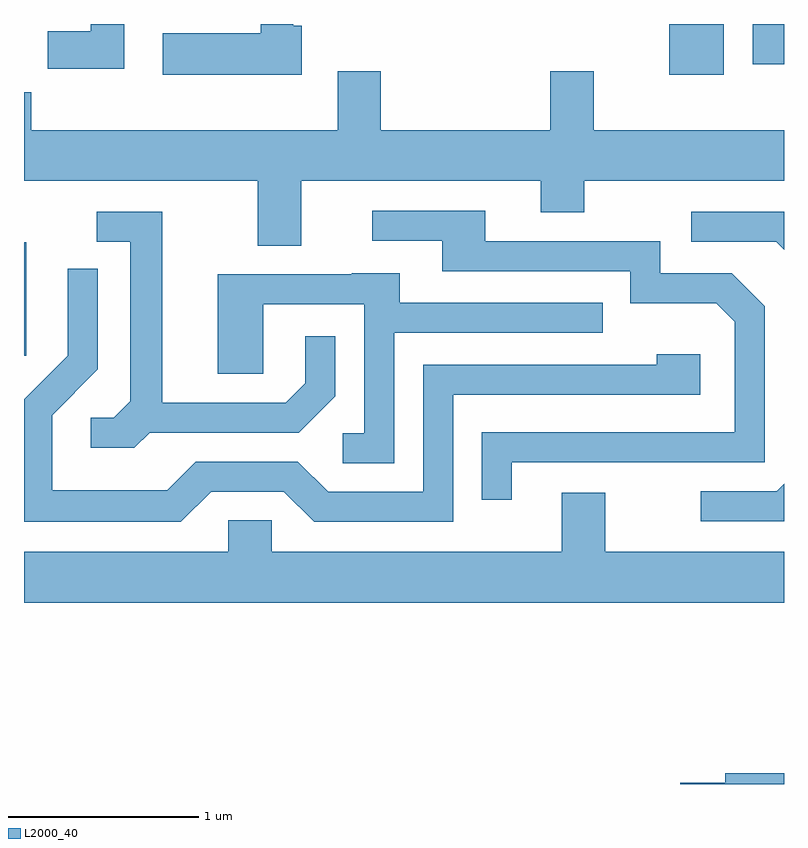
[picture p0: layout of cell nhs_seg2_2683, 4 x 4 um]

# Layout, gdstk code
import gdstk
lib = gdstk.Library(unit=1e-6, precision=1e-09)
def R(c, l, rs):  # rectangles x0, y0, x1, y1
    for r in rs: c.add(gdstk.rectangle(r[:2], r[2:], *l))
def P(c, l, *ps):  # polygons
    for p in ps: c.add(gdstk.Polygon(p, *l))
L2000_40 = (2000, 40)

nhs_seg2_2683 = lib.new_cell('nhs_seg2_2683')
R(nhs_seg2_2683, L2000_40, [(263.611,1054.056,263.624,1054.654), (267.006,1055.536,267.294,1055.802), (267.446,1055.591,267.611,1055.802)])
P(nhs_seg2_2683, L2000_40, [(264.139,1055.802),(263.961,1055.802),(263.961,1055.764),(263.736,1055.764),(263.736,1055.566),(264.139,1055.566)],
  [(265.074,1055.794),(265.029,1055.794),(265.029,1055.802),(264.856,1055.802),(264.856,1055.754),(264.341,1055.754),(264.341,1055.536),(265.074,1055.536)],
  [(265.069,1054.976),(266.331,1054.976),(266.331,1054.811),(266.559,1054.811),(266.559,1054.976),(267.611,1054.976),(267.611,1055.244),(266.609,1055.244),(266.609,1055.554),(266.381,1055.554),(266.381,1055.244),(265.489,1055.244),(265.489,1055.554),(265.261,1055.554),(265.261,1055.244),(263.649,1055.244),(263.649,1055.444),(263.611,1055.444),(263.611,1054.976),(264.841,1054.976),(264.841,1054.636),(265.069,1054.636)],
  [(266.179,1053.496),(267.509,1053.496),(267.509,1054.317),(267.337,1054.489),(266.959,1054.489),(266.959,1054.659),(266.039,1054.659),(266.039,1054.819),(265.443,1054.819),(265.443,1054.661),(265.811,1054.661),(265.811,1054.501),(266.801,1054.501),(266.801,1054.331),(267.254,1054.331),(267.351,1054.234),(267.351,1053.654),(266.021,1053.654),(266.021,1053.298),(266.179,1053.298)],
  [(267.611,1054.814),(267.123,1054.814),(267.123,1054.656),(267.569,1054.656),(267.611,1054.614)],
  [(264.272,1053.651),(265.057,1053.651),(265.249,1053.844),(265.249,1054.158),(265.091,1054.158),(265.091,1053.912),(264.989,1053.809),(264.339,1053.809),(264.339,1054.814),(263.993,1054.814),(263.993,1054.656),(264.171,1054.656),(264.171,1053.817),(264.084,1053.729),(263.963,1053.729),(263.963,1053.571),(264.192,1053.571)],
  [(264.597,1053.341),(264.979,1053.341),(265.139,1053.181),(265.869,1053.181),(265.869,1053.851),(267.169,1053.851),(267.169,1054.064),(266.941,1054.064),(266.941,1054.009),(265.711,1054.009),(265.711,1053.339),(265.212,1053.339),(265.052,1053.499),(264.514,1053.499),(264.364,1053.349),(263.759,1053.349),(263.759,1053.744),(263.999,1053.984),(263.999,1054.513),(263.841,1054.513),(263.841,1054.057),(263.611,1053.827),(263.611,1053.181),(264.437,1053.181)],
  [(265.559,1054.176),(266.658,1054.176),(266.658,1054.334),(265.589,1054.334),(265.589,1054.489),(265.335,1054.489),(265.335,1054.484),(264.631,1054.484),(264.631,1053.961),(264.869,1053.961),(264.869,1054.326),(265.401,1054.326),(265.401,1053.649),(265.288,1053.649),(265.288,1053.491),(265.559,1053.491)],
  [(267.611,1053.381),(267.574,1053.344),(267.173,1053.344),(267.173,1053.186),(267.611,1053.186)],
  [(267.611,1053.024),(266.669,1053.024),(266.669,1053.334),(266.441,1053.334),(266.441,1053.024),(264.914,1053.024),(264.914,1053.189),(264.686,1053.189),(264.686,1053.024),(263.611,1053.024),(263.611,1052.756),(267.611,1052.756)],
  [(267.611,1051.859),(267.301,1051.859),(267.301,1051.809),(267.066,1051.809),(267.066,1051.802),(267.611,1051.802)])

lib.write_gds('nhs_seg2_2683.gds')
